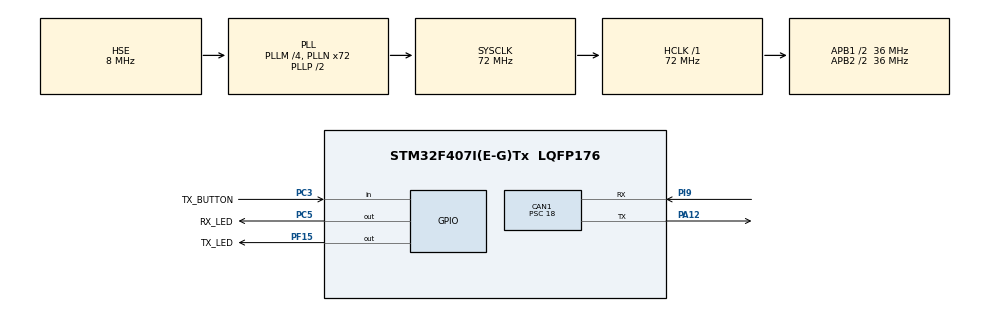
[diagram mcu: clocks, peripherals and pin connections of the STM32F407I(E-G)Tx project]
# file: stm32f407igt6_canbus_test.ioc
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CAN1.BS1=CAN_BS1_2TQ
CAN1.CalculateBaudRate=500000
CAN1.CalculateTimeBit=2000
CAN1.CalculateTimeQuantum=500.0
CAN1.Mode=CAN_MODE_NORMAL
CAN1.Prescaler=18
Mcu.Family=STM32F4
Mcu.Name=STM32F407I(E-G)Tx
Mcu.Package=LQFP176
NVIC.CAN1_RX0_IRQn=true\:0\:0\:false\:false\:true\:true\:true\:true
NVIC.CAN1_RX1_IRQn=true\:0\:0\:false\:false\:true\:true\:true\:true
NVIC.PriorityGroup=NVIC_PRIORITYGROUP_4
PA12.Mode=CAN_Activate
PA12.Signal=CAN1_TX
PC3.GPIO_Label=TX_BUTTON
PC3.GPIO_PuPd=GPIO_PULLDOWN
PC3.Signal=GPIO_Input
PC5.GPIO_Label=RX_LED
PC5.GPIO_Speed=GPIO_SPEED_FREQ_HIGH
PC5.Signal=GPIO_Output
PF15.GPIO_Label=TX_LED
PF15.Signal=GPIO_Output
PH0-OSC_IN.Mode=HSE-External-Oscillator
PH0-OSC_IN.Signal=RCC_OSC_IN
PH1-OSC_OUT.Mode=HSE-External-Oscillator
PH1-OSC_OUT.Signal=RCC_OSC_OUT
PI9.GPIO_PuPd=GPIO_PULLUP
PI9.Mode=CAN_Activate
PI9.Signal=CAN1_RX
ProjectManager.HeapSize=0x200
ProjectManager.StackSize=0x400
ProjectManager.TargetToolchain=STM32CubeIDE
RCC.48MHZClocksFreq_Value=36000000
RCC.AHBFreq_Value=72000000
RCC.APB1CLKDivider=RCC_HCLK_DIV2
RCC.APB1Freq_Value=36000000
RCC.APB1TimFreq_Value=72000000
RCC.APB2CLKDivider=RCC_HCLK_DIV2
RCC.APB2Freq_Value=36000000
RCC.APB2TimFreq_Value=72000000
RCC.CortexFreq_Value=72000000
RCC.HCLKFreq_Value=72000000
RCC.HSE_VALUE=8000000
RCC.HSI_VALUE=16000000
RCC.LSE_VALUE=32768
RCC.PLLM=4
RCC.PLLN=72
RCC.PLLSourceVirtual=RCC_PLLSOURCE_HSE
RCC.SYSCLKFreq_VALUE=72000000
RCC.SYSCLKSource=RCC_SYSCLKSOURCE_PLLCLK
RCC.VCOOutputFreq_Value=144000000
board=custom

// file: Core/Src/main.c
/* USER CODE BEGIN Header */
/**
  ******************************************************************************
  * @file           : main.c
  * @brief          : Main program body
  ******************************************************************************
  * @attention
  *
  * Copyright (c) 2023 STMicroelectronics.
  * All rights reserved.
  *
  * This software is licensed under terms that can be found in the LICENSE file
  * in the root directory of this software component.
  * If no LICENSE file comes with this software, it is provided AS-IS.
  *
  ******************************************************************************
  */
/* USER CODE END Header */
#include "main.h"

CAN_HandleTypeDef hcan1;

void SystemClock_Config(void);
static void MX_GPIO_Init(void);
static void MX_CAN1_Init(void);

/* USER CODE BEGIN 0 */
CAN_TxHeaderTypeDef TxHeader;
CAN_RxHeaderTypeDef RxHeader;

uint8_t TxData[8];
uint8_t RxData[8];

uint32_t TxMailbox;

int datacheck = 0;
uint8_t count = 0;

void HAL_CAN_RxFifo0MsgPendingCallback(CAN_HandleTypeDef *hcan){
	count++;
	HAL_CAN_GetRxMessage(hcan, CAN_RX_FIFO0, &RxHeader, RxData);
	if(RxHeader.DLC == 2){
		datacheck = 1;
	}
}
/* USER CODE END 0 */

int main(void)
{

  /* MCU Configuration--------------------------------------------------------*/

  /* Reset of all peripherals, Initializes the Flash interface and the Systick. */
  HAL_Init();

  /* Configure the system clock */
  SystemClock_Config();

  /* Initialize all configured peripherals */
  MX_GPIO_Init();
  MX_CAN1_Init();
  /* USER CODE BEGIN 2 */
  HAL_CAN_Start(&hcan1);

  HAL_CAN_ActivateNotification(&hcan1, CAN_IT_RX_FIFO0_MSG_PENDING);

  TxHeader.DLC = 2;
  TxHeader.ExtId = 0;
  TxHeader.IDE = CAN_ID_STD;
  TxHeader.RTR = CAN_RTR_DATA;
  TxHeader.StdId = 0x446;
  TxHeader.TransmitGlobalTime = DISABLE;

  /* USER CODE END 2 */

  /* Infinite loop */
  /* USER CODE BEGIN WHILE */
  while (1){
	  if(HAL_GPIO_ReadPin(TX_BUTTON_GPIO_Port, TX_BUTTON_Pin) == 1){
		  TxData[0] = 100;
		  TxData[1] = 10;

		  HAL_CAN_AddTxMessage(&hcan1, &TxHeader, TxData, &TxMailbox);
		  HAL_GPIO_WritePin(TX_LED_GPIO_Port, TX_LED_Pin, SET);
	  }

	  if(datacheck){
		  for(int i = 0; i < RxData[1]; i++){
			  HAL_GPIO_TogglePin(RX_LED_GPIO_Port, RX_LED_Pin);
			  HAL_Delay(RxData[0]);
		  }

		  datacheck = 0;
	  }
	  HAL_GPIO_WritePin(TX_LED_GPIO_Port, TX_LED_Pin, RESET);

    /* USER CODE END WHILE */

  }
}

void SystemClock_Config(void)
{
  RCC_OscInitTypeDef RCC_OscInitStruct = {0};
  RCC_ClkInitTypeDef RCC_ClkInitStruct = {0};

  /** Configure the main internal regulator output voltage
  */
  __HAL_RCC_PWR_CLK_ENABLE();
  __HAL_PWR_VOLTAGESCALING_CONFIG(PWR_REGULATOR_VOLTAGE_SCALE1);

  /** Initializes the RCC Oscillators according to the specified parameters
  * in the RCC_OscInitTypeDef structure.
  */
  RCC_OscInitStruct.OscillatorType = RCC_OSCILLATORTYPE_HSE;
  RCC_OscInitStruct.HSEState = RCC_HSE_ON;
  RCC_OscInitStruct.PLL.PLLState = RCC_PLL_ON;
  RCC_OscInitStruct.PLL.PLLSource = RCC_PLLSOURCE_HSE;
  RCC_OscInitStruct.PLL.PLLM = 4;
  RCC_OscInitStruct.PLL.PLLN = 72;
  RCC_OscInitStruct.PLL.PLLP = RCC_PLLP_DIV2;
  RCC_OscInitStruct.PLL.PLLQ = 4;
  if (HAL_RCC_OscConfig(&RCC_OscInitStruct) != HAL_OK)
  {
    Error_Handler();
  }

  /** Initializes the CPU, AHB and APB buses clocks
  */
  RCC_ClkInitStruct.ClockType = RCC_CLOCKTYPE_HCLK|RCC_CLOCKTYPE_SYSCLK
                              |RCC_CLOCKTYPE_PCLK1|RCC_CLOCKTYPE_PCLK2;
  RCC_ClkInitStruct.SYSCLKSource = RCC_SYSCLKSOURCE_PLLCLK;
  RCC_ClkInitStruct.AHBCLKDivider = RCC_SYSCLK_DIV1;
  RCC_ClkInitStruct.APB1CLKDivider = RCC_HCLK_DIV2;
  RCC_ClkInitStruct.APB2CLKDivider = RCC_HCLK_DIV2;

  if (HAL_RCC_ClockConfig(&RCC_ClkInitStruct, FLASH_LATENCY_2) != HAL_OK)
  {
    Error_Handler();
  }
}

static void MX_CAN1_Init(void)
{

  hcan1.Instance = CAN1;
  hcan1.Init.Prescaler = 18;
  hcan1.Init.Mode = CAN_MODE_NORMAL;
  hcan1.Init.SyncJumpWidth = CAN_SJW_1TQ;
  hcan1.Init.TimeSeg1 = CAN_BS1_2TQ;
  hcan1.Init.TimeSeg2 = CAN_BS2_1TQ;
  hcan1.Init.TimeTriggeredMode = DISABLE;
  hcan1.Init.AutoBusOff = DISABLE;
  hcan1.Init.AutoWakeUp = DISABLE;
  hcan1.Init.AutoRetransmission = DISABLE;
  hcan1.Init.ReceiveFifoLocked = DISABLE;
  hcan1.Init.TransmitFifoPriority = DISABLE;
  if (HAL_CAN_Init(&hcan1) != HAL_OK)
  {
    Error_Handler();
  }
  /* USER CODE BEGIN CAN1_Init 2 */

  CAN_FilterTypeDef canfilterconfig;

  canfilterconfig.FilterActivation = CAN_FILTER_ENABLE;
  canfilterconfig.FilterBank = 18;  // which filter bank to use from the assigned ones
  canfilterconfig.FilterFIFOAssignment = CAN_FILTER_FIFO0;
  canfilterconfig.FilterIdHigh = 0x103<<5;
  canfilterconfig.FilterIdLow = 0;
  canfilterconfig.FilterMaskIdHigh = 0x103<<5;
  canfilterconfig.FilterMaskIdLow = 0x0000;
  canfilterconfig.FilterMode = CAN_FILTERMODE_IDMASK;
  canfilterconfig.FilterScale = CAN_FILTERSCALE_32BIT;
  canfilterconfig.SlaveStartFilterBank = 20;  // how many filters to assign to the CAN1 (master can)

  HAL_CAN_ConfigFilter(&hcan1, &canfilterconfig);

  /* USER CODE END CAN1_Init 2 */

}

static void MX_GPIO_Init(void)
{
  GPIO_InitTypeDef GPIO_InitStruct = {0};

  /* GPIO Ports Clock Enable */
  __HAL_RCC_GPIOI_CLK_ENABLE();
  __HAL_RCC_GPIOH_CLK_ENABLE();
  __HAL_RCC_GPIOC_CLK_ENABLE();
  __HAL_RCC_GPIOF_CLK_ENABLE();
  __HAL_RCC_GPIOA_CLK_ENABLE();

  /*Configure GPIO pin Output Level */
  HAL_GPIO_WritePin(RX_LED_GPIO_Port, RX_LED_Pin, GPIO_PIN_RESET);

  /*Configure GPIO pin Output Level */
  HAL_GPIO_WritePin(TX_LED_GPIO_Port, TX_LED_Pin, GPIO_PIN_RESET);

  /*Configure GPIO pin : TX_BUTTON_Pin */
  GPIO_InitStruct.Pin = TX_BUTTON_Pin;
  GPIO_InitStruct.Mode = GPIO_MODE_INPUT;
  GPIO_InitStruct.Pull = GPIO_PULLDOWN;
  HAL_GPIO_Init(TX_BUTTON_GPIO_Port, &GPIO_InitStruct);

  /*Configure GPIO pin : RX_LED_Pin */
  GPIO_InitStruct.Pin = RX_LED_Pin;
  GPIO_InitStruct.Mode = GPIO_MODE_OUTPUT_PP;
  GPIO_InitStruct.Pull = GPIO_NOPULL;
  GPIO_InitStruct.Speed = GPIO_SPEED_FREQ_HIGH;
  HAL_GPIO_Init(RX_LED_GPIO_Port, &GPIO_InitStruct);

  /*Configure GPIO pin : TX_LED_Pin */
  GPIO_InitStruct.Pin = TX_LED_Pin;
  GPIO_InitStruct.Mode = GPIO_MODE_OUTPUT_PP;
  GPIO_InitStruct.Pull = GPIO_NOPULL;
  GPIO_InitStruct.Speed = GPIO_SPEED_FREQ_LOW;
  HAL_GPIO_Init(TX_LED_GPIO_Port, &GPIO_InitStruct);

}

void Error_Handler(void)
{
  __disable_irq();
  while (1)
  {
  }
}
